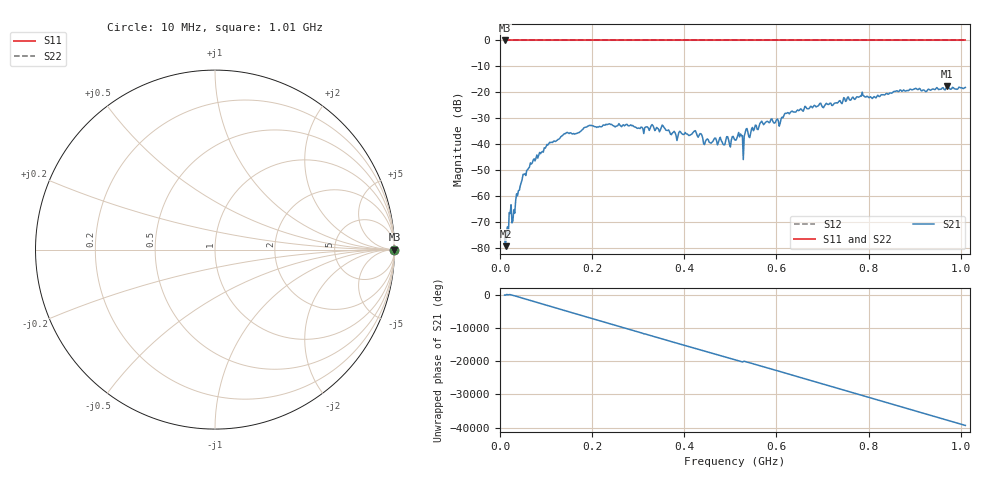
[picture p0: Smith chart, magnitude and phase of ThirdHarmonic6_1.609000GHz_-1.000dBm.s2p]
! 8/16/2025 7:12:01 PM
! C:\ANRITSUVNA\TEMP\TEMP.S2P
! CHANNEL.1
! TR.MEASUREMENT
! RAW.DATA
! RF.CORRECTION.OFF
! AVERAGING.OFF
! IF.BANDWIDTH: 5KHZ
! SWEEPTYPE:  FREQ.SWEEP(Linear)
! Reference Plane Port Info
! PORT:  PORT1  PORT2
! DISTANCE:  0  m  0  m
! TIME:  0  s  0  s
! PHASE.OFFSET:  0  deg.  0  deg.
! LOSS:  0  dB  0  dB
! REF.LOSS:  0  dB  0  dB
! REF.FREQ:  0  Hz  0  Hz
! Power Info
! POWER:  -20  dBm  -20  dBm
! EFF.POWER:  -20  dBm  -20  dBm
! SOURCE.ATTEN:  0  dB  0  dB
! TEST.ATTEN:  0  dB  0  dB
# GHZ S RI R 50.0
! FREQ.GHZ  S11RE  S11IM  S21RE  S21IM  S12RE  S12IM  S22RE  S22IM
!; PortSelection: Port_12
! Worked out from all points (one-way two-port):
!   501 points, 10 MHz to 1.01 GHz, reference 50 ohm
!   highest |S21| = -17.62 dB at 970 MHz (marker M1); lowest = -79.1 dB at 12 MHz (marker M2)
!   lowest |S11| = 0.0 dB at 10 MHz (marker M3)
!   |S11| at or under -10 dB: nowhere
!   |S22| runs from 0.0 to 0.0 dB; largest |S21 - S12| = 1.1
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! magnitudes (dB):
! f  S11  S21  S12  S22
! 10 MHz  0.0  -76.2  0.0  0.0
! 12 MHz  0.0  -79.1  0.0  0.0
! 20 MHz  0.0  -66.2  0.0  0.0
! 30 MHz  0.0  -65.1  0.0  0.0
! 48 MHz  0.0  -53.5  0.0  0.0
! 70 MHz  0.0  -47.1  0.0  0.0
! 106 MHz  0.0  -39.6  0.0  0.0
! 178 MHz  0.0  -34.4  0.0  0.0
! 234 MHz  0.0  -32.3  0.0  0.0
! 344 MHz  0.0  -34.1  0.0  0.0
! 384 MHz  0.0  -38.5  0.0  0.0
! 422 MHz  0.0  -34.8  0.0  0.0
! 446 MHz  0.0  -38.7  0.0  0.0
! 510 MHz  0.0  -38.3  0.0  0.0
! 522 MHz  0.0  -36.0  0.0  0.0
! 528 MHz  0.0  -45.8  0.0  0.0
! 534 MHz  0.0  -34.1  0.0  0.0
! 566 MHz  0.0  -31.5  0.0  0.0
! 678 MHz  0.0  -25.9  0.0  0.0
! 844 MHz  0.0  -20.5  0.0  0.0
! 970 MHz  0.0  -17.6  0.0  0.0
! 1.01 GHz  0.0  -18.1  0.0  0.0
